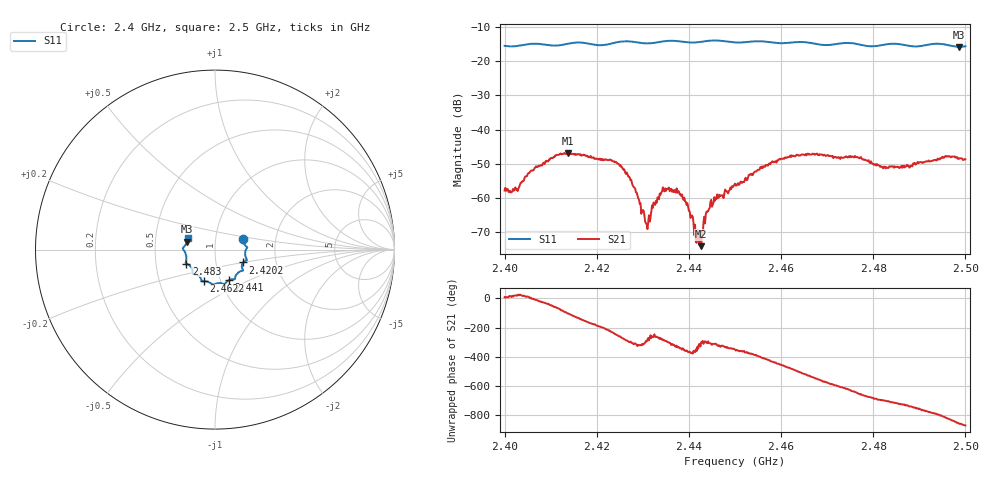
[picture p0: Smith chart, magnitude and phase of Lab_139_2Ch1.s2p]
# Hz S RI R 50
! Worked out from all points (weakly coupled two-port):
!   601 points, 2.4 GHz to 2.5 GHz, reference 50 ohm
!   highest |S21| = -46.83 dB at 2.4138 GHz (marker M1); lowest = -74.1 dB at 2.4427 GHz (marker M2)
!   lowest |S11| = -15.8 dB at 2.4987 GHz (marker M3), VSWR 1.39, Z = 36.4 + j3.28 ohm
!   |S11| at or under -10 dB: start of sweep to end of sweep
!   S12 and S22 are empty: the file has one direction only
!   S11 on the Smith chart (normalised r, x): 2.4 GHz: 1.36, +0.17; 2.4202 GHz: 1.35, -0.20; 2.441 GHz: 1.10, -0.39; 2.4622 GHz: 0.83, -0.30; 2.483 GHz: 0.72, -0.12; 2.5 GHz: 0.73, +0.09
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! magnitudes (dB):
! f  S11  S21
! 2.4 GHz  -15.5  -57.8
! 2.4025 GHz  -15.6  -57.5
! 2.4068 GHz  -14.9  -50.7
! 2.4138 GHz  -14.9  -46.8
! 2.4167 GHz  -14.6  -47.7
! 2.4202 GHz  -15.3  -48.7
! 2.4257 GHz  -14.2  -51.5
! 2.431 GHz  -14.8  -69.1
! 2.4333 GHz  -14.5  -59.8
! 2.4348 GHz  -14.1  -57.2
! 2.4378 GHz  -14.2  -58.1
! 2.441 GHz  -14.6  -67.4
! 2.4418 GHz  -14.5  -70.6
! 2.4427 GHz  -14.3  -74.1
! 2.4443 GHz  -14.0  -63.2
! 2.45 GHz  -14.5  -55.8
! 2.4622 GHz  -14.6  -48.0
! 2.4667 GHz  -14.7  -47.3
! 2.483 GHz  -15.0  -51.1
! 2.4833 GHz  -15.0  -51.2
! 2.4987 GHz  -15.8  -48.5
! 2.5 GHz  -15.6  -48.7
